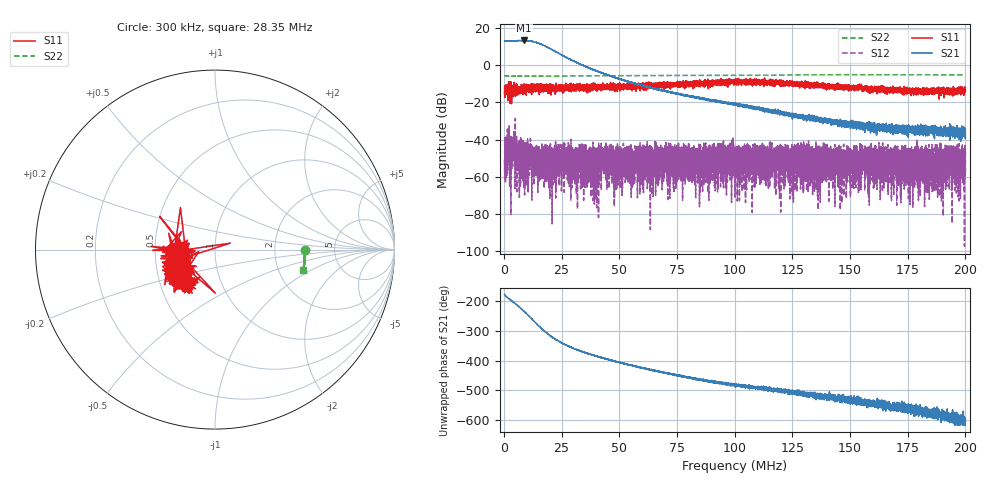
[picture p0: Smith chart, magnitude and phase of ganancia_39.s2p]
# Hz S DB R 50
! CMT, M5065, 19127446, 24.2.4/2
! Date: 11/8/2024 3:13:32 PM
! Data: Format (Calibration Info)
! Freq	S11:dB/Ang(F2)	S21:dB/Ang(F2)	S12:dB/Ang(F2)	S22:dB/Ang(F2)
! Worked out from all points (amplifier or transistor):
!   9000 points, 300 kHz to 200 MHz, reference 50 ohm
!   highest |S21| = 13.1 dB at 8.688 MHz (marker M1)
!   |S21| within 3 dB of that: start of sweep to 17.88 MHz (the widest 1 of 2)
!   unconditionally stable (mu >= 1): start of sweep to end of sweep
!   at 33.59 MHz: K = 137.04, MAG = 1.7 dB, |S12| = -52.0 dB
!   at 100.2 MHz: K = 1213.13, MAG = -18.7 dB, |S12| = -51.2 dB
!   at 200 MHz: K = 5583.52, MAG = -37.8 dB, |S12| = -44.9 dB
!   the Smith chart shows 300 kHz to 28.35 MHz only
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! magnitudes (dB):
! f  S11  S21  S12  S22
! 300 kHz  -14.6  12.8  -50.8  -6.0
! 1.831 MHz  -13.6  12.8  -45.4  -6.0
! 8.688 MHz  -13.1  13.1  -51.0  -6.0
! 16.14 MHz  -11.5  11.2  -58.5  -6.0
! 33.59 MHz  -12.8  0.1  -52.0  -5.9
! 66.87 MHz  -9.5  -13.3  -54.5  -5.7
! 100.2 MHz  -8.2  -20.8  -51.2  -5.5
! 106.2 MHz  -8.5  -22.7  -48.2  -5.5
! 109.3 MHz  -8.4  -23.4  -51.6  -5.5
! 122.2 MHz  -10.7  -26.3  -46.5  -5.4
! 124.5 MHz  -9.8  -27.2  -45.8  -5.4
! 128.1 MHz  -10.3  -27.2  -47.2  -5.3
! 133.4 MHz  -10.7  -28.7  -51.4  -5.3
! 144.5 MHz  -11.7  -31.8  -48.0  -5.2
! 146.7 MHz  -12.4  -31.6  -54.0  -5.2
! 155.3 MHz  -12.3  -33.1  -50.4  -5.2
! 159.9 MHz  -13.0  -34.5  -44.7  -5.2
! 166.7 MHz  -12.9  -31.9  -50.5  -5.2
! 186.1 MHz  -14.5  -37.4  -51.3  -5.3
! 195.1 MHz  -14.0  -35.2  -51.2  -5.4
! 196.9 MHz  -13.5  -37.1  -53.7  -5.3
! 200 MHz  -13.5  -39.5  -44.9  -5.4
